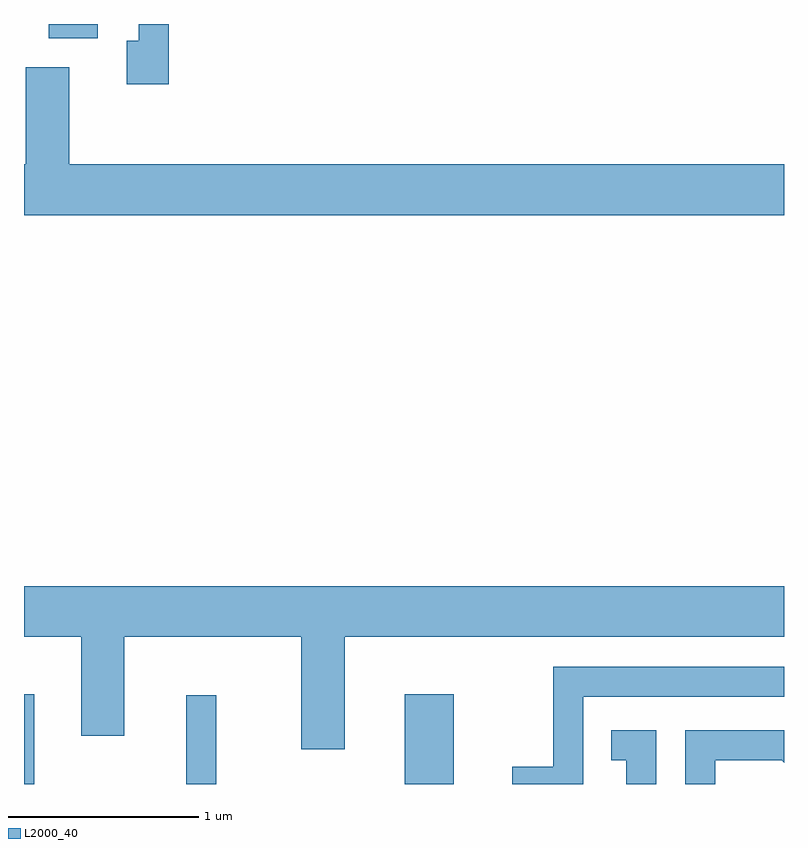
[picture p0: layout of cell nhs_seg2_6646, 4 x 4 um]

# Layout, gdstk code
import gdstk
lib = gdstk.Library(unit=1e-6, precision=1e-09)
def R(c, l, rs):  # rectangles x0, y0, x1, y1
    for r in rs: c.add(gdstk.rectangle(r[:2], r[2:], *l))
def P(c, l, *ps):  # polygons
    for p in ps: c.add(gdstk.Polygon(p, *l))
L2000_40 = (2000, 40)

nhs_seg2_6646 = lib.new_cell('nhs_seg2_6646')
R(nhs_seg2_6646, L2000_40, [(381.611,1009.802,381.664,1010.274), (382.466,1009.802,382.624,1010.268), (383.616,1009.802,383.874,1010.274), (381.741,1013.726,381.999,1013.802)])
P(nhs_seg2_6646, L2000_40, [(382.374,1013.802),(382.216,1013.802),(382.216,1013.714),(382.151,1013.714),(382.151,1013.486),(382.374,1013.486)],
  [(385.611,1013.064),(381.849,1013.064),(381.849,1013.574),(381.621,1013.574),(381.621,1013.064),(381.611,1013.064),(381.611,1012.796),(385.611,1012.796)],
  [(383.299,1010.576),(385.611,1010.576),(385.611,1010.844),(381.611,1010.844),(381.611,1010.576),(381.911,1010.576),(381.911,1010.056),(382.139,1010.056),(382.139,1010.576),(383.071,1010.576),(383.071,1009.986),(383.299,1009.986)],
  [(384.554,1010.261),(385.611,1010.261),(385.611,1010.419),(384.396,1010.419),(384.396,1009.894),(384.181,1009.894),(384.181,1009.802),(384.554,1009.802)],
  [(385.249,1009.926),(385.599,1009.926),(385.611,1009.914),(385.611,1010.084),(385.091,1010.084),(385.091,1009.802),(385.249,1009.802)],
  [(384.939,1010.084),(384.703,1010.084),(384.703,1009.926),(384.781,1009.926),(384.781,1009.802),(384.939,1009.802)])

lib.write_gds('nhs_seg2_6646.gds')
